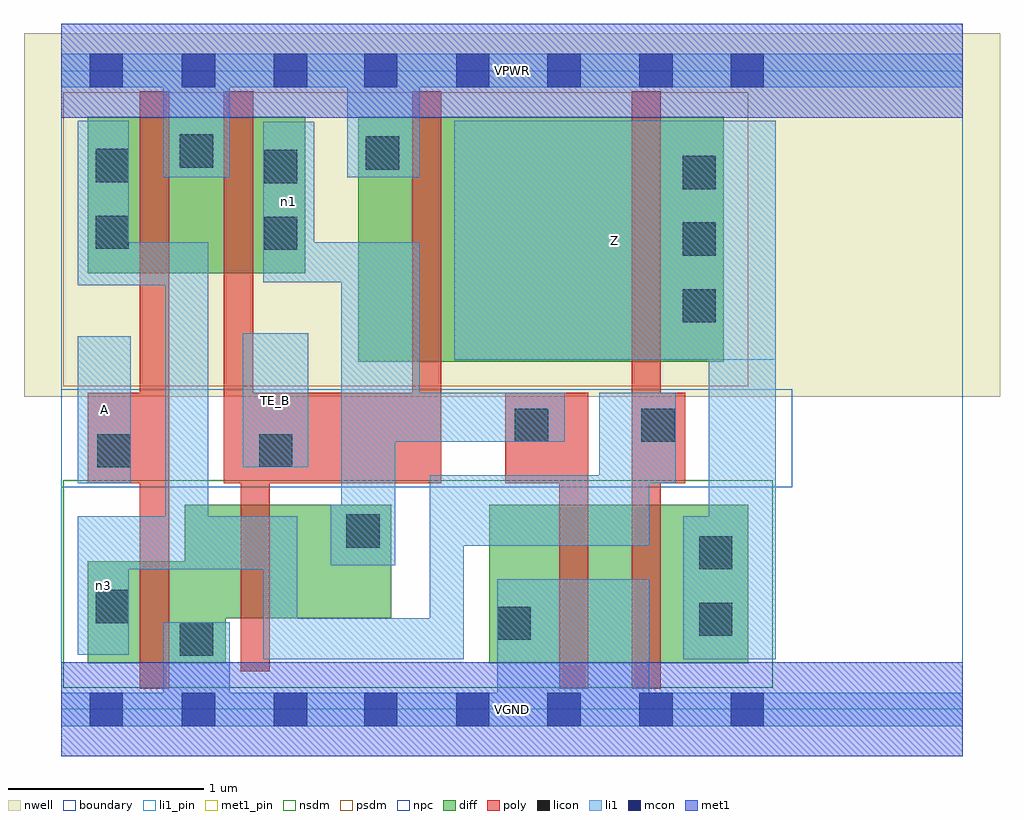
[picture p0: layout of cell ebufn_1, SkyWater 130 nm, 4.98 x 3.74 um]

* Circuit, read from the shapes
.subckt ebufn_1 A TE_B VGND VPWR Z n1 n3
XM1 VGND A n3 VSUBS sky130_fd_pr__nfet_01v8 w=0.52 l=0.15
XM2 n1 TE_B VGND VSUBS sky130_fd_pr__nfet_01v8 w=0.58 l=0.15
XM3 n2 n1 VGND VSUBS sky130_fd_pr__nfet_01v8 w=0.81 l=0.15
XM4 Z n3 n2 VSUBS sky130_fd_pr__nfet_01v8 w=0.81 l=0.15
XM5 VPWR A n3 n4 sky130_fd_pr__pfet_01v8 w=0.8 l=0.15
XM6 n1 TE_B VPWR n4 sky130_fd_pr__pfet_01v8 w=0.8 l=0.15
XM7 n5 TE_B VPWR n4 sky130_fd_pr__pfet_01v8 w=1.25 l=0.15
XM8 Z n3 n5 n4 sky130_fd_pr__pfet_01v8 w=1.25 l=0.15
.ends

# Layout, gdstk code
import gdstk
lib = gdstk.Library(unit=1e-6, precision=1e-09)
def R(c, l, rs):  # rectangles x0, y0, x1, y1
    for r in rs: c.add(gdstk.rectangle(r[:2], r[2:], *l))
def A(c, l, x, y, w, h, nx, ny, dx, dy):  # array of equal rectangles
    R(c, l, [(x+i*dx, y+j*dy, x+i*dx+w, y+j*dy+h) for i in range(nx) for j in range(ny)])
nwell = (64, 20)
diff = (65, 20)
poly = (66, 20)
licon = (66, 44)
li1_pin = (67, 16)
li1 = (67, 20)
mcon = (67, 44)
met1_pin = (68, 16)
met1 = (68, 20)
nsdm = (93, 44)
psdm = (94, 20)
npc = (95, 20)
boundary = (235, 4)

ebufn_1 = lib.new_cell('ebufn_1')
R(ebufn_1, nwell, [(-0.19,1.595,4.79,3.45), (0,1.595,4.6,3.45)])
R(ebufn_1, diff, [(0.135,0.235,0.84,0.755), (2.185,0.235,3.505,1.045), (0.63,0.465,1.685,1.045), (1.515,1.775,3.38,3.025), (0.135,2.225,1.245,3.025)])
R(ebufn_1, poly, [(0.4,0.105,0.55,3.155), (2.54,0.105,2.69,1.615), (2.91,0.105,3.06,3.155), (0.915,0.195,1.065,1.615), (0.135,1.155,0.55,1.615), (0.83,1.155,1.94,1.615), (0.83,1.155,0.98,3.155), (1.79,1.155,1.94,3.155), (2.265,1.155,2.69,1.615), (2.91,1.155,3.185,1.615)])
A(ebufn_1, licon, 3.17, 1.975, 0.17, 0.17, 1, 3, 0, 0.34)
R(ebufn_1, licon, [(0.605,0.275,0.775,0.445), (2.225,0.355,2.395,0.525), (3.255,0.375,3.425,0.545), (0.175,0.44,0.345,0.61), (3.255,0.715,3.425,0.885), (1.455,0.825,1.625,0.995), (0.185,1.235,0.355,1.405), (1.01,1.235,1.18,1.405), (2.315,1.365,2.485,1.535), (2.96,1.365,3.13,1.535), (1.035,2.345,1.205,2.515), (0.175,2.35,0.345,2.52), (1.035,2.685,1.205,2.855), (0.175,2.69,0.345,2.86), (1.555,2.755,1.725,2.925), (0.605,2.765,0.775,2.935)])
R(ebufn_1, li1_pin, [(0.085,1.155,0.355,1.905), (0.925,1.235,1.26,1.92), (2.005,1.785,3.645,3.005)])
R(ebufn_1, li1, [(0,-0.085,4.6,0.085), (0.52,-0.085,0.86,0.445), (2.225,-0.085,3,0.665), (1.03,0.255,2.055,0.465), (1.03,0.255,1.205,0.985), (1.88,0.255,2.055,1.195), (3.175,0.255,3.645,0.985), (3.305,0.255,3.645,3.005), (0.085,0.28,0.345,0.985), (0.085,0.715,1.205,0.985), (0.53,0.715,0.75,2.385), (1.375,0.735,1.705,1.045), (1.43,0.735,1.705,2.385), (1.88,0.835,3,1.195), (2.745,0.835,3,1.615), (0.085,1.155,0.355,1.905), (2.745,1.155,3.135,1.615), (0.925,1.235,1.26,1.92), (1.43,1.365,2.57,1.615), (1.43,1.365,1.83,2.385), (2.005,1.785,3.645,3.005), (0.085,2.165,0.345,3.005), (0.085,2.165,0.75,2.385), (1.03,2.18,1.29,3), (1.03,2.18,1.83,2.385), (0.52,2.715,0.86,3.345), (1.46,2.715,1.83,3.345), (0,3.175,4.6,3.345)])
A(ebufn_1, mcon, 0.145, -0.085, 0.17, 0.17, 3, 2, 0.47, 3.26)
R(ebufn_1, mcon, [(1.545,-0.085,1.715,0.085), (2.015,-0.085,2.185,0.085), (2.48,-0.085,2.65,0.085), (2.95,-0.085,3.12,0.085), (3.415,-0.085,3.585,0.085), (1.545,3.175,1.715,3.345), (2.015,3.175,2.185,3.345), (2.48,3.175,2.65,3.345), (2.95,3.175,3.12,3.345), (3.415,3.175,3.585,3.345)])
R(ebufn_1, met1_pin, [(0,-0.24,4.6,0.24), (0,3.02,4.6,3.5)])
R(ebufn_1, met1, [(0,-0.24,4.6,0.24), (0,3.02,4.6,3.5)])
R(ebufn_1, nsdm, [(0.01,0.11,3.63,1.17)])
R(ebufn_1, psdm, [(0.01,1.65,3.505,3.15)])
R(ebufn_1, npc, [(0,1.135,3.73,1.635)])
R(ebufn_1, boundary, [(0,0,4.6,3.26)])
ebufn_1.add(gdstk.Label('A', (0.22,1.53), layer=67, texttype=5))
ebufn_1.add(gdstk.Label('TE_B', (1.092,1.577), layer=67, texttype=5))
ebufn_1.add(gdstk.Label('Z', (2.825,2.395), layer=67, texttype=5))
ebufn_1.add(gdstk.Label('n1', (1.16,2.59), layer=67, texttype=5))
ebufn_1.add(gdstk.Label('n3', (0.215,0.632), layer=67, texttype=5))
ebufn_1.add(gdstk.Label('VPWR', (2.3,3.26), layer=68, texttype=5))
ebufn_1.add(gdstk.Label('VGND', (2.3,0), layer=68, texttype=5))
ebufn_1.add(gdstk.Label('A', (0.22,1.53), layer=67, texttype=16))
ebufn_1.add(gdstk.Label('TE_B', (1.092,1.577), layer=67, texttype=16))
ebufn_1.add(gdstk.Label('Z', (2.825,2.395), layer=67, texttype=16))
ebufn_1.add(gdstk.Label('VPWR', (2.3,3.26), layer=68, texttype=16))
ebufn_1.add(gdstk.Label('VGND', (2.3,0), layer=68, texttype=16))

lib.write_gds('ebufn_1.gds')
